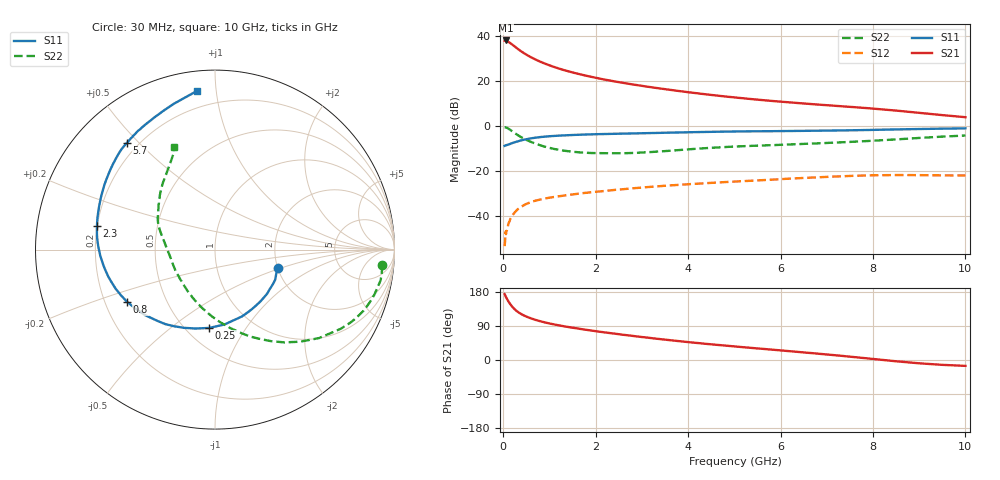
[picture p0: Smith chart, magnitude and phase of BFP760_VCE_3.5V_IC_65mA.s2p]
! Infineon Technologies  Discrete & RF Semiconductors
! BFP760
! VCE =  3.5 V,  IC =  65 mA
! Common Emitter S-Parameters:  Nov 2012
# GHz  S  MA  R  50
!  f  S11  S21  S12  S22
! GHz  MAG  ANG  MAG  ANG  MAG  ANG  MAG  ANG
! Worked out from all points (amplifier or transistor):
!   99 points, 30 MHz to 10 GHz, reference 50 ohm
!   highest |S21| = 38.2 dB at 50 MHz (marker M1)
!   |S21| within 3 dB of that: start of sweep to 268.1 MHz
!   unconditionally stable (mu >= 1): 3.368 GHz to end of sweep
!   at 350 MHz: K = 0.43, MSG = 35.2 dB, |S12| = -36.5 dB
!   at 3.5 GHz: K = 1.01, MAG = 21.0 dB, |S12| = -26.6 dB
!   at 10 GHz: K = 1.04, MAG = 11.8 dB, |S12| = -22.0 dB
!   S11 on the Smith chart (normalised r, x): 30 MHz: 2.00, -0.46; 250 MHz: 0.64, -0.69; 800 MHz: 0.29, -0.25; 2.3 GHz: 0.20, +0.09; 5.7 GHz: 0.16, +0.46; 10 GHz: 0.10, +0.89
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0.03  0.3628 -16.1  80.68 173.7  0.0021 83.4  0.9366 -5.3
0.04  0.3663 -21.2  80.75 171.5  0.0027 83.0  0.9379 -7.9
0.05  0.3751 -26.5  81.49 168.4  0.0044 68.4  0.9386 -10.5
0.07  0.3764 -36.0  80.56 163.7  0.0046 76.7  0.9238 -15.4
0.1  0.3844 -49.4  77.24 157.1  0.0058 74.3  0.8954 -22.3
0.15  0.4017 -68.1  71.53 147.7  0.0084 68.0  0.828 -32.2
0.2  0.4208 -82.9  65.28 139.9  0.0103 63.7  0.7607 -40.4
0.25  0.4377 -94.3  59.68 133.6  0.0119 62.0  0.6984 -47.3
0.3  0.453 -103.9  54.36 128.4  0.0136 58.7  0.6456 -53.2
0.35  0.4693 -111.8  49.65 124.1  0.0149 56.9  0.5994 -58.4
0.45  0.4989 -123.7  42.32 117.4  0.0173 53.5  0.5256 -67.5
0.6  0.534 -136.9  34.45 109.9  0.0202 49.5  0.4453 -79.0
0.8  0.5698 -149.3  27.43 102.3  0.023 46.0  0.3741 -92.3
1.2  0.6134 -165.8  19.33 91.5  0.0272 42.9  0.2966 -114.4
1.7  0.6452 -179.4  14.03 81.4  0.0318 42.0  0.2571 -135.9
2.3  0.6704 168.8  10.43 71.2  0.0367 41.3  0.2482 -155.9
3.4  0.708 151.7  6.902 55.1  0.0459 39.7  0.2731 176.4
5.1  0.7615 133.8  4.271 34.8  0.0587 35.2  0.3536 154.1
5.7  0.7707 129.7  3.738 28.5  0.063 33.5  0.3734 148.4
6.7  0.7889 122.7  3.088 18.0  0.0714 29.4  0.4092 139.7
8.5  0.8445 105.7  2.221 -3.4  0.0811 17.4  0.5054 122.2
10  0.8913 96.4  1.582 -15.5  0.0795 11.9  0.6172 111.6
